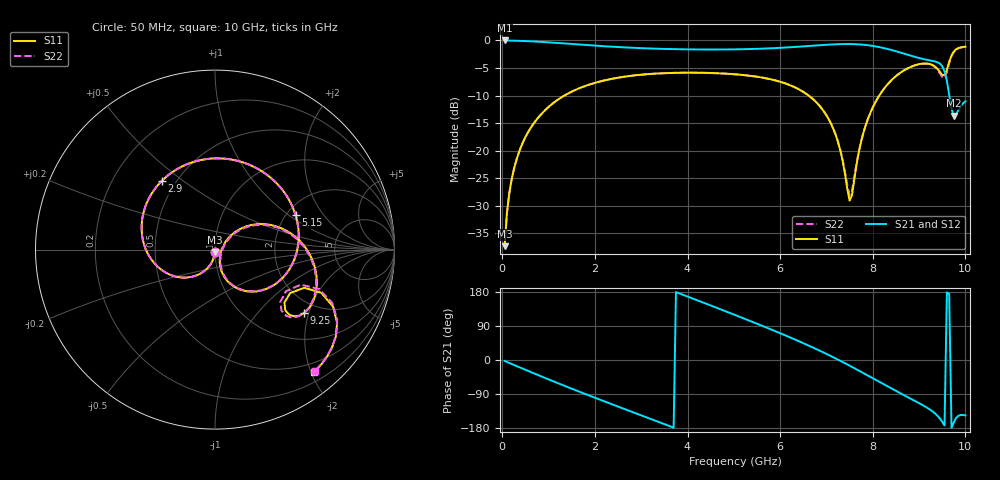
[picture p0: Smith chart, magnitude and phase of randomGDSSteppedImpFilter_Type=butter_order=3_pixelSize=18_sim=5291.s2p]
! freq	dB(S11)	phase(S11)	dB(S12)	phase(S12)
!  dB(S21)	phase(S21)	dB(S22)	phase(S22)
!S-par simulation data
#  GHz  S  DB  R 50
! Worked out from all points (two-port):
!   200 points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, 50 MHz to 10 GHz, reference 50 ohm
!   highest |S21| = 0.00 dB at 50 MHz (marker M1); lowest = -13.7 dB at 9.75 GHz (marker M2)
!   |S21| within 3 dB of the highest: start of sweep to 8.919 GHz
!   lowest |S11| = -37.3 dB at 50 MHz (marker M3), VSWR 1.03, Z = 49.9 - j1.36 ohm
!   |S11| at or under -10 dB: start of sweep to 1.339 GHz; 6.615 GHz to 8.141 GHz (1.526 GHz wide, 20.7 % of centre)
!   |S22| runs from -37.3 to -1.2 dB; largest |S21 - S12| = 0
!   S11 on the Smith chart (normalised r, x): 50 MHz: 1.00, -0.03; 2.9 GHz: 0.42, +0.42; 5.15 GHz: 2.24, +1.12; 9.25 GHz: 1.65, -1.86; 10 GHz: 0.34, -2.05
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0.05  -37.31 -92.4  -0.00 -2.6  -0.00 -2.6  -37.31 -92.4
0.2  -25.31 -100.6  -0.03 -10.4  -0.03 -10.4  -25.31 -100.6
0.5  -17.52 -116.4  -0.12 -25.9  -0.12 -25.9  -17.52 -116.4
1.15  -11.04 -149.3  -0.43 -58.7  -0.43 -58.7  -11.04 -149.2
1.75  -8.39 -178.5  -0.80 -87.8  -0.80 -87.8  -8.38 -178.4
2.9  -6.30 127.7  -1.37 -141.5  -1.37 -141.5  -6.30 127.9
3.4  -5.98 104.6  -1.52 -164.6  -1.52 -164.6  -5.98 104.9
4.2  -5.85 67.6  -1.64 158.1  -1.64 158.1  -5.85 67.9
5.05  -6.15 27.8  -1.61 117.7  -1.61 117.7  -6.15 28.1
5.15  -6.23 23.1  -1.60 112.8  -1.60 112.8  -6.23 23.4
5.95  -7.37 -15.2  -1.37 73.2  -1.37 73.2  -7.37 -14.8
6.7  -10.58 -52.0  -0.96 33.4  -0.96 33.4  -10.57 -51.3
7.2  -17.17 -72.7  -0.70 4.0  -0.70 4.0  -17.11 -71.2
7.5  -29.06 -24.7  -0.65 -15.0  -0.65 -15.0  -28.09 -23.8
7.85  -15.33 40.1  -0.82 -38.2  -0.82 -38.2  -15.29 38.5
8.35  -7.68 14.6  -1.61 -71.8  -1.61 -71.8  -7.68 13.8
8.85  -4.69 -14.1  -2.84 -104.1  -2.84 -104.1  -4.71 -15.0
9.25  -4.32 -35.7  -3.66 -132.1  -3.66 -132.1  -4.38 -36.9
9.5  -6.26 -37.3  -4.68 -163.2  -4.68 -163.2  -6.63 -38.7
9.6  -5.34 -23.2  -7.31 178.4  -7.31 178.4  -5.74 -22.2
9.75  -2.01 -30.9  -13.65 -164.5  -13.65 -164.5  -2.11 -29.8
10  -1.13 -51.0  -11.04 -146.1  -11.04 -146.1  -1.15 -50.4
